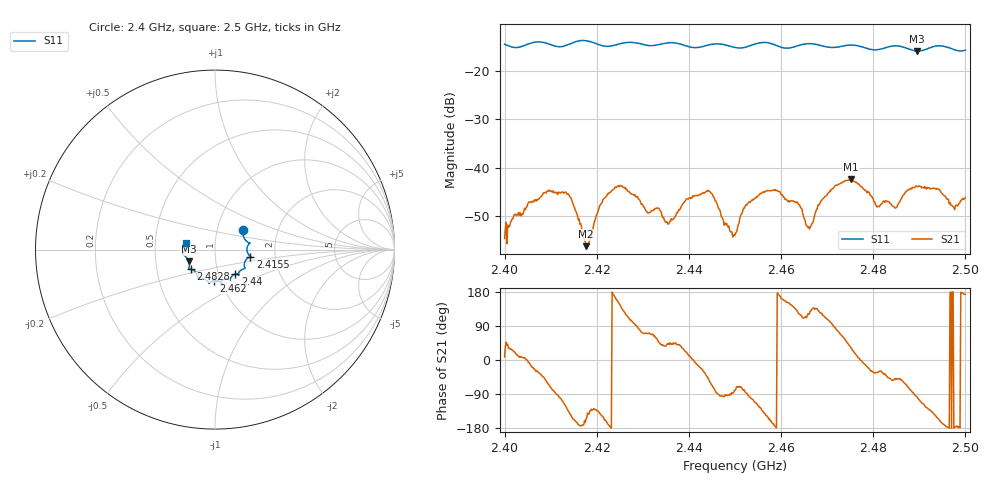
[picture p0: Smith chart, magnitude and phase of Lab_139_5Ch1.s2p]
# Hz S RI R 50
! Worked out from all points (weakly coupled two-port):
!   601 points, 2.4 GHz to 2.5 GHz, reference 50 ohm
!   highest |S21| = -42.43 dB at 2.4752 GHz (marker M1); lowest = -56.2 dB at 2.4177 GHz (marker M2)
!   lowest |S11| = -15.9 dB at 2.4895 GHz (marker M3), VSWR 1.38, Z = 37 - j4.99 ohm
!   |S11| at or under -10 dB: start of sweep to end of sweep
!   S12 and S22 are empty: the file has one direction only
!   S11 on the Smith chart (normalised r, x): 2.4 GHz: 1.33, +0.29; 2.4155 GHz: 1.49, -0.12; 2.44 GHz: 1.21, -0.34; 2.462 GHz: 0.93, -0.33; 2.4828 GHz: 0.74, -0.17; 2.5 GHz: 0.72, +0.06
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2.4e9  0.1556 0.1066  0.00184 0.000261  0 0  0 0
2.409167e9  0.1903 0.0327  0.00302 -0.00483  0 0  0 0
2.4135e9  0.1833 -0.0214  -0.00325 -0.00422  0 0  0 0
2.4155e9  0.1971 -0.039  -0.00338 -0.00101  0 0  0 0
2.416667e9  0.202 -0.0422  -0.00245 -0.000248  0 0  0 0
2.417667e9  0.2011 -0.0419  -0.00142 -0.000611  0 0  0 0
2.421167e9  0.1744 -0.0549  -0.00371 -0.0023  0 0  0 0
2.4245e9  0.1638 -0.0924  -0.00593 0.00249  0 0  0 0
2.433333e9  0.1306 -0.1336  0.0025 0.0029  0 0  0 0
2.4355e9  0.1315 -0.1442  0.00193 0.00174  0 0  0 0
2.44e9  0.1141 -0.1365  0.00475 0.000923  0 0  0 0
2.444667e9  0.0849 -0.1672  0.00272 -0.00489  0 0  0 0
2.45e9  0.0647 -0.1626  0.000332 -0.00197  0 0  0 0
2.455667e9  0.0376 -0.1925  -0.00334 -0.00424  0 0  0 0
2.462e9  -0.00504 -0.1732  -0.0038 0.00245  0 0  0 0
2.466667e9  -0.0343 -0.1881  -0.00184 0.00187  0 0  0 0
2.469167e9  -0.0412 -0.1757  -0.00221 0.00427  0 0  0 0
2.475167e9  -0.093 -0.1599  0.00642 0.00398  0 0  0 0
2.482833e9  -0.1363 -0.1094  0.00332 -0.00296  0 0  0 0
2.483333e9  -0.1401 -0.1092  0.00305 -0.00325  0 0  0 0
2.4895e9  -0.1463 -0.0658  -0.000881 -0.00629  0 0  0 0
2.5e9  -0.1595 0.0389  -0.00486 0.000579  0 0  0 0
